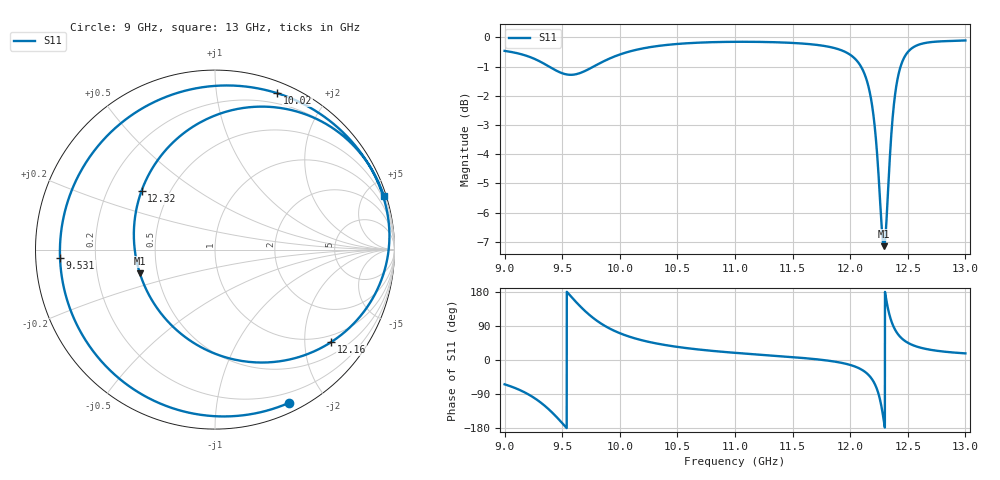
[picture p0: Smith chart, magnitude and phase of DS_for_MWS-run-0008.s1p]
! TOUCHSTONE file generated by CST DESIGN STUDIO
! Date and time: Tue Feb  4 16:29:44 2025
! Project name: C:\Work\MatlabApps\UnitCellOptimizationMatlab\CST\unitcell.cst
! Tree item: Tasks\Sweep1\SPara1\S-Parameters
! Header version: 2024
! Port assignment regex: !\s*Touchstone port\s*([0-9]+)\s*=\s*(CST MWS port|CST DES external port|CST DES block port)\s*(.+)\s* \(\"(.*)\"\)(\s*mode\s*([0-9]+))?.*
! Touchstone port assignment:
! Touchstone port 1 = CST DES external port 1 ("")
# GHz S MA R 50
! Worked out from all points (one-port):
!   4001 points, 9 GHz to 13 GHz, reference 50 ohm
!   lowest |S11| = -7.1 dB at 12.29 GHz (marker M1), VSWR 2.57, Z = 19.9 - j6.53 ohm
!   |S11| at or under -10 dB: nowhere
!   S11 on the Smith chart (normalised r, x): 9 GHz: 0.09, -1.59; 9.531 GHz: 0.07, -0.03; 10.02 GHz: 0.10, +1.47; 12.16 GHz: 0.81, -2.65; 12.32 GHz: 0.35, +0.31; 13 GHz: 0.26, +6.50
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9  0.9482 -64.2
9.147  0.9355 -81.4
9.296  0.9116 -108.3
9.396  0.889 -133.8
9.5  0.8682 -166.5
9.531  0.8647 -177.0
9.621  0.8649 152.7
9.743  0.885 117.2
9.853  0.9087 93.2
10  0.9348 70.8
10.021  0.9378 68.2
10.228  0.9597 49.4
10.5  0.9744 34.6
11  0.9827 18.9
11.5  0.9784 7.6
12  0.9338 -13.0
12.156  0.8277 -38.4
12.198  0.7456 -54.7
12.238  0.6145 -81.7
12.265  0.503 -113.1
12.293  0.4391 -162.4
12.324  0.5242 141.3
12.354  0.669 105.6
12.386  0.7881 82.0
12.438  0.8922 59.8
12.5  0.9437 45.5
12.665  0.9793 28.7
13  0.988 17.5
